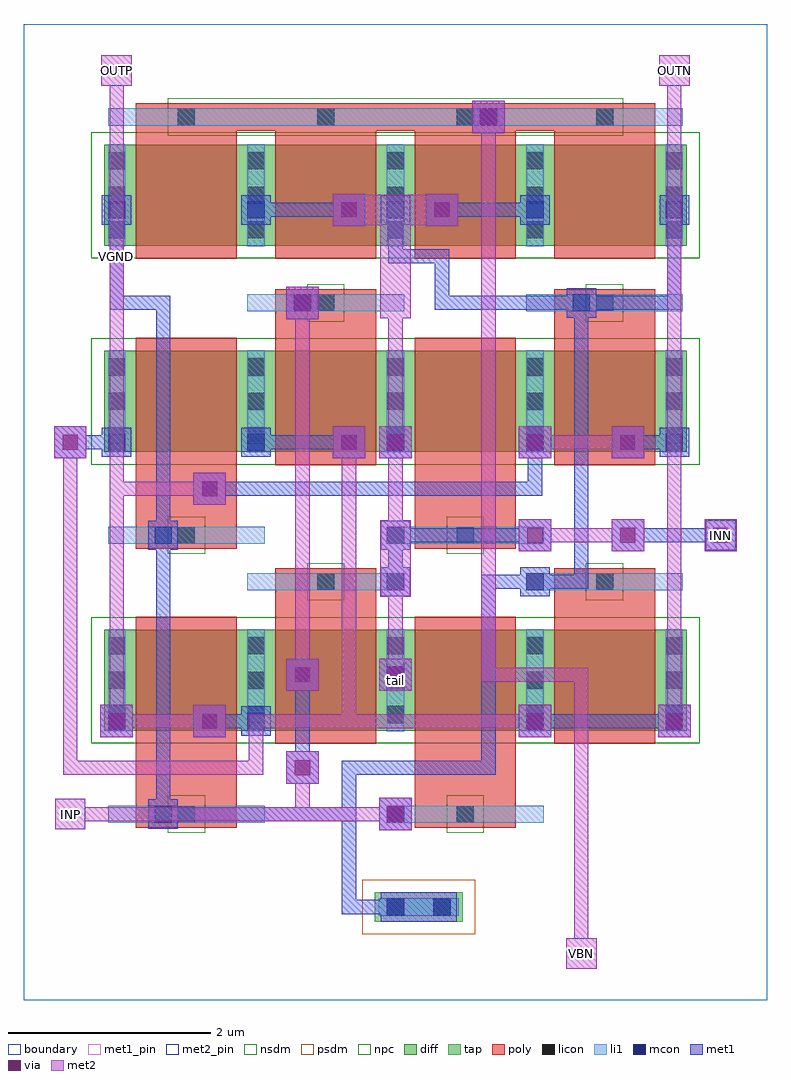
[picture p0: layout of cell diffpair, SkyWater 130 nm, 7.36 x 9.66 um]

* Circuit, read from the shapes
.subckt diffpair INN INP OUTN OUTP VBN VGND tail
XM1 OUTP VGND OUTP VGND sky130_fd_pr__nfet_01v8 w=1 l=1 m=2
XM2 OUTN VGND OUTN VGND sky130_fd_pr__nfet_01v8 w=1 l=1 m=2
XM3 tail VBN VGND VGND sky130_fd_pr__nfet_01v8 w=1 l=1 m=4
XM4 tail INN OUTP VGND sky130_fd_pr__nfet_01v8 w=1 l=1 m=2
XM5 tail INP OUTN VGND sky130_fd_pr__nfet_01v8 w=1 l=1 m=2
.ends

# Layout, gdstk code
import gdstk
lib = gdstk.Library(unit=1e-6, precision=1e-09)
def R(c, l, rs):  # rectangles x0, y0, x1, y1
    for r in rs: c.add(gdstk.rectangle(r[:2], r[2:], *l))
def A(c, l, x, y, w, h, nx, ny, dx, dy):  # array of equal rectangles
    R(c, l, [(x+i*dx, y+j*dy, x+i*dx+w, y+j*dy+h) for i in range(nx) for j in range(ny)])
diff = (65, 20)
tap = (65, 44)
poly = (66, 20)
licon = (66, 44)
li1 = (67, 20)
mcon = (67, 44)
met1_pin = (68, 16)
met1 = (68, 20)
via = (68, 44)
met2_pin = (69, 16)
met2 = (69, 20)
nsdm = (93, 44)
psdm = (94, 20)
npc = (95, 20)
boundary = (235, 4)

diffpair = lib.new_cell('diffpair')
R(diffpair, diff, [(0.795,2.665,6.565,3.665), (0.795,5.425,6.565,6.425), (0.795,7.465,6.565,8.465)])
R(diffpair, tap, [(3.475,0.775,4.345,1.065)])
A(diffpair, poly, 1.11, 7.335, 1, 1.405, 4, 1, 1.38, 0)
R(diffpair, poly, [(1.11,1.705,2.11,1.975), (3.87,1.705,4.87,1.975), (1.11,1.84,2.11,3.795), (3.87,1.84,4.87,3.795), (2.49,2.535,3.49,4.14), (5.25,2.535,6.25,4.14), (2.49,4.005,3.49,4.275), (5.25,4.005,6.25,4.275), (1.11,4.465,2.11,4.735), (3.87,4.465,4.87,4.735), (1.11,4.6,2.11,6.555), (3.87,4.6,4.87,6.555), (2.49,5.295,3.49,6.9), (5.25,5.295,6.25,6.9), (2.49,6.765,3.49,7.035), (5.25,6.765,6.25,7.035), (1.11,8.605,6.25,8.875)])
A(diffpair, licon, 0.835, 2.74, 0.17, 0.17, 5, 3, 1.38, 0.34)
A(diffpair, licon, 0.835, 5.5, 0.17, 0.17, 5, 3, 1.38, 0.34)
A(diffpair, licon, 0.835, 7.54, 0.17, 0.17, 5, 3, 1.38, 0.34)
A(diffpair, licon, 1.525, 8.655, 0.17, 0.17, 4, 1, 1.38, 0)
R(diffpair, licon, [(3.595,0.835,3.765,1.005), (4.055,0.835,4.225,1.005), (1.525,1.755,1.695,1.925), (4.285,1.755,4.455,1.925), (2.905,4.055,3.075,4.225), (5.665,4.055,5.835,4.225), (1.525,4.515,1.695,4.685), (4.285,4.515,4.455,4.685), (2.905,6.815,3.075,6.985), (5.665,6.815,5.835,6.985)])
A(diffpair, li1, 0.835, 2.66, 0.17, 1.01, 5, 2, 1.38, 2.76)
A(diffpair, li1, 0.835, 7.46, 0.17, 1.01, 5, 1, 1.38, 0)
R(diffpair, li1, [(3.515,0.835,4.305,1.005), (0.835,1.755,2.385,1.925), (3.595,1.755,5.145,1.925), (2.215,4.055,3.765,4.225), (4.975,4.055,6.525,4.225), (0.835,4.515,2.385,4.685), (3.595,4.515,5.145,4.685), (2.215,6.815,3.765,6.985), (4.975,6.815,6.525,6.985), (0.835,8.655,6.525,8.825)])
A(diffpair, mcon, 0.835, 5.435, 0.17, 0.17, 5, 2, 1.38, 2.3)
R(diffpair, mcon, [(3.595,0.835,3.765,1.005), (4.055,0.835,4.225,1.005), (1.295,1.755,1.465,1.925), (3.595,1.755,3.765,1.925), (0.835,2.675,1.005,2.845), (2.215,2.675,2.385,2.845), (4.975,2.675,5.145,2.845), (6.355,2.675,6.525,2.845), (3.595,3.135,3.765,3.305), (3.595,4.055,3.765,4.225), (4.975,4.055,5.145,4.225), (1.295,4.515,1.465,4.685), (3.595,4.515,3.765,4.685), (2.675,6.815,2.845,6.985), (5.435,6.815,5.605,6.985), (4.515,8.655,4.685,8.825)])
R(diffpair, met1_pin, [(0.85,6.83,0.99,7.89)])
A(diffpair, met1, 4.9, 4.44, 0.32, 0.32, 3, 1, 0.92, 0)
A(diffpair, met1, 0.775, 5.375, 0.29, 0.29, 5, 2, 1.38, 2.3)
R(diffpair, met1, [(3.535,0.775,4.285,1.065), (3.15,0.85,3.29,1.91), (3.15,0.85,3.75,0.99), (3.61,0.85,3.75,0.99), (3.52,1.68,3.84,2), (1.235,1.695,1.525,1.985), (3.535,1.695,3.825,1.985), (1.31,1.77,1.45,4.67), (1.31,1.77,3.29,1.91), (3.15,1.77,3.29,2.37), (2.6,2.14,2.92,2.46), (2.69,2.23,2.83,3.29), (3.15,2.23,4.67,2.37), (4.53,2.23,4.67,4.21), (0.76,2.6,1.08,2.92), (1.68,2.6,2,2.92), (4.9,2.6,5.22,2.92), (6.28,2.6,6.6,2.92), (0.775,2.615,1.065,2.905), (2.155,2.615,2.445,2.905), (4.915,2.615,5.205,2.905), (6.295,2.615,6.585,2.905), (1.77,2.69,2.37,2.83), (4.99,2.69,6.51,2.83), (2.6,3.06,2.92,3.38), (3.52,3.06,3.84,3.38), (3.535,3.075,3.825,3.365), (3.535,3.995,3.825,4.285), (4.915,3.995,5.205,4.285), (3.61,4.07,3.75,4.67), (4.53,4.07,5.13,4.21), (4.99,4.07,5.59,4.21), (5.45,4.07,5.59,6.97), (1.235,4.455,1.525,4.745), (3.535,4.455,3.825,4.745), (1.31,4.53,1.45,6.97), (3.61,4.53,5.13,4.67), (5.91,4.53,6.97,4.67), (1.68,4.9,2,5.22), (1.77,4.99,5.13,5.13), (4.99,4.99,5.13,5.59), (0.3,5.36,0.62,5.68), (3.06,5.36,3.38,5.68), (3.52,5.36,3.84,5.68), (4.9,5.36,5.22,5.68), (5.82,5.36,6.14,5.68), (0.39,5.45,0.99,5.59), (2.23,5.45,3.29,5.59), (5.91,5.45,6.51,5.59), (2.6,6.74,2.92,7.06), (2.615,6.755,2.905,7.045), (5.375,6.755,5.665,7.045), (0.85,6.83,0.99,7.89), (0.85,6.83,1.45,6.97), (4.07,6.83,4.21,7.43), (4.07,6.83,5.59,6.97), (5.45,6.83,6.51,6.97), (6.37,6.83,6.51,7.89), (3.61,7.29,4.21,7.43), (3.61,7.29,3.75,7.89), (3.06,7.66,3.38,7.98), (3.98,7.66,4.3,7.98), (2.23,7.75,3.29,7.89), (4.07,7.75,5.13,7.89), (4.44,8.58,4.76,8.9), (4.455,8.595,4.745,8.885)])
A(diffpair, via, 4.985, 4.525, 0.15, 0.15, 3, 1, 0.92, 0)
R(diffpair, via, [(3.605,1.765,3.755,1.915), (2.685,2.225,2.835,2.375), (0.845,2.685,0.995,2.835), (1.765,2.685,1.915,2.835), (4.985,2.685,5.135,2.835), (6.365,2.685,6.515,2.835), (2.685,3.145,2.835,3.295), (3.605,3.145,3.755,3.295), (1.765,4.985,1.915,5.135), (0.385,5.445,0.535,5.595), (3.145,5.445,3.295,5.595), (3.605,5.445,3.755,5.595), (4.985,5.445,5.135,5.595), (5.905,5.445,6.055,5.595), (2.685,6.825,2.835,6.975), (3.145,7.745,3.295,7.895), (4.065,7.745,4.215,7.895), (4.525,8.665,4.675,8.815)])
R(diffpair, met2_pin, [(5.37,0.31,5.67,0.61), (0.31,1.69,0.61,1.99), (6.75,4.45,7.05,4.75), (0.77,9.05,1.07,9.35), (6.29,9.05,6.59,9.35)])
A(diffpair, met2, 4.9, 4.44, 0.32, 0.32, 3, 1, 0.92, 0)
R(diffpair, met2, [(5.37,0.31,5.67,0.61), (5.45,0.39,5.59,0.53), (5.45,0.39,5.59,3.29), (3.52,1.68,3.84,2), (0.31,1.69,0.61,1.99), (0.39,1.77,0.53,1.91), (0.39,1.77,3.75,1.91), (2.69,1.77,2.83,2.37), (2.6,2.14,2.92,2.46), (0.39,2.23,2.37,2.37), (0.39,2.23,0.53,5.59), (2.23,2.23,2.37,2.83), (0.76,2.6,1.08,2.92), (1.68,2.6,2,2.92), (4.9,2.6,5.22,2.92), (6.28,2.6,6.6,2.92), (0.85,2.69,1.91,2.83), (0.85,2.69,0.99,9.27), (2.23,2.69,3.29,2.83), (3.15,2.69,5.13,2.83), (3.15,2.69,3.29,5.59), (6.37,2.69,6.51,9.27), (2.6,3.06,2.92,3.38), (3.52,3.06,3.84,3.38), (2.69,3.15,2.83,6.97), (3.61,3.15,3.75,4.21), (4.53,3.15,5.59,3.29), (4.53,3.15,4.67,8.81), (3.53,3.99,3.83,4.75), (6.75,4.45,7.05,4.75), (3.61,4.53,3.75,5.59), (4.99,4.53,6.05,4.67), (6.83,4.53,6.97,4.67), (1.68,4.9,2,5.22), (0.85,4.99,1.91,5.13), (0.3,5.36,0.62,5.68), (3.06,5.36,3.38,5.68), (3.52,5.36,3.84,5.68), (4.9,5.36,5.22,5.68), (5.82,5.36,6.14,5.68), (3.61,5.45,3.75,6.97), (4.99,5.45,6.05,5.59), (2.6,6.74,2.92,7.06), (3.53,6.75,3.83,7.97), (3.06,7.66,3.38,7.98), (3.98,7.66,4.3,7.98), (3.07,7.67,3.83,7.97), (3.53,7.67,4.29,7.97), (4.44,8.58,4.76,8.9), (0.77,9.05,1.07,9.35), (6.29,9.05,6.59,9.35), (0.85,9.13,0.99,9.27), (6.37,9.13,6.51,9.27)])
R(diffpair, nsdm, [(0.67,2.54,6.69,3.79), (0.67,5.3,6.69,6.55), (0.67,7.34,6.69,8.59)])
R(diffpair, psdm, [(3.35,0.65,4.47,1.19)])
R(diffpair, npc, [(1.425,1.655,1.795,2.025), (4.185,1.655,4.555,2.025), (2.805,3.955,3.175,4.325), (5.565,3.955,5.935,4.325), (1.425,4.415,1.795,4.785), (4.185,4.415,4.555,4.785), (2.805,6.715,3.175,7.085), (5.565,6.715,5.935,7.085), (1.425,8.555,5.935,8.925)])
R(diffpair, boundary, [(0,0,7.36,9.66)])
diffpair.add(gdstk.Label('tail', (3.68,3.165), layer=67, texttype=5))
diffpair.add(gdstk.Label('VGND', (0.92,7.36), layer=68, texttype=5))
diffpair.add(gdstk.Label('INP', (0.46,1.84), layer=69, texttype=5))
diffpair.add(gdstk.Label('INN', (6.9,4.6), layer=69, texttype=5))
diffpair.add(gdstk.Label('VBN', (5.52,0.46), layer=69, texttype=5))
diffpair.add(gdstk.Label('OUTP', (0.92,9.2), layer=69, texttype=5))
diffpair.add(gdstk.Label('OUTN', (6.44,9.2), layer=69, texttype=5))
diffpair.add(gdstk.Label('VGND', (0.92,7.36), layer=68, texttype=16))
diffpair.add(gdstk.Label('INP', (0.46,1.84), layer=69, texttype=16))
diffpair.add(gdstk.Label('INN', (6.9,4.6), layer=69, texttype=16))
diffpair.add(gdstk.Label('VBN', (5.52,0.46), layer=69, texttype=16))
diffpair.add(gdstk.Label('OUTP', (0.92,9.2), layer=69, texttype=16))
diffpair.add(gdstk.Label('OUTN', (6.44,9.2), layer=69, texttype=16))

lib.write_gds('diffpair.gds')
